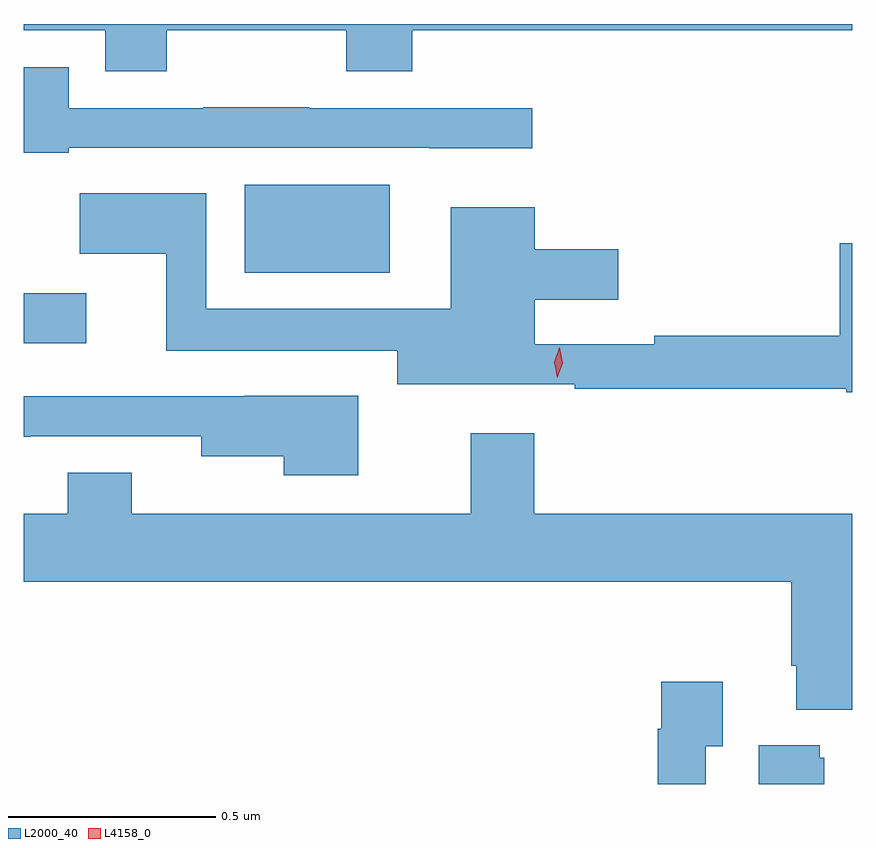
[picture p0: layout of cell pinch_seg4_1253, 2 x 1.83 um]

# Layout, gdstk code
import gdstk
lib = gdstk.Library(unit=1e-6, precision=1e-09)
def R(c, l, rs):  # rectangles x0, y0, x1, y1
    for r in rs: c.add(gdstk.rectangle(r[:2], r[2:], *l))
def P(c, l, *ps):  # polygons
    for p in ps: c.add(gdstk.Polygon(p, *l))
L2000_40 = (2000, 40)
L4158_0 = (4158, 0)

pinch_seg4_1253 = lib.new_cell('pinch_seg4_1253')
R(pinch_seg4_1253, L2000_40, [(351.396,832.028,351.547,832.149), (351.929,832.199,352.279,832.411)])
P(pinch_seg4_1253, L2000_40, [(351.741,832.784),(352.174,832.784),(352.174,832.685),(352.334,832.685),(352.334,832.784),(353.396,832.784),(353.396,832.799),(351.396,832.799),(351.396,832.784),(351.593,832.784),(351.593,832.685),(351.741,832.685)],
  [(351.505,832.5),(352.375,832.5),(352.375,832.499),(352.624,832.499),(352.624,832.596),(352.085,832.596),(352.085,832.598),(351.829,832.598),(351.829,832.596),(351.505,832.596),(351.505,832.695),(351.396,832.695),(351.396,832.488),(351.505,832.488)],
  [(353.396,832.27),(353.366,832.27),(353.366,832.046),(352.918,832.046),(352.918,832.026),(352.63,832.026),(352.63,832.133),(352.831,832.133),(352.831,832.255),(352.63,832.255),(352.63,832.357),(352.427,832.357),(352.427,832.111),(351.837,832.111),(351.837,832.39),(351.531,832.39),(351.531,832.244),(351.74,832.244),(351.74,832.01),(352.298,832.01),(352.298,831.929),(352.726,831.929),(352.726,831.918),(353.382,831.918),(353.382,831.91),(353.396,831.91)],
  [(352.204,831.901),(351.928,831.901),(351.928,831.9),(351.396,831.9),(351.396,831.803),(351.413,831.803),(351.413,831.804),(351.824,831.804),(351.824,831.755),(352.024,831.755),(352.024,831.71),(352.204,831.71)],
  [(353.396,831.616),(352.628,831.616),(352.628,831.811),(352.475,831.811),(352.475,831.616),(351.657,831.616),(351.657,831.715),(351.502,831.715),(351.502,831.616),(351.396,831.616),(351.396,831.452),(353.249,831.452),(353.249,831.25),(353.261,831.25),(353.261,831.143),(353.396,831.143)],
  [(353.043,831.055),(353.083,831.055),(353.083,831.211),(352.935,831.211),(352.935,831.098),(352.927,831.098),(352.927,830.964),(353.043,830.964)],
  [(353.329,831.027),(353.318,831.027),(353.318,831.058),(353.171,831.058),(353.171,830.964),(353.329,830.964)])
P(pinch_seg4_1253, L4158_0, [(352.684,831.945),(352.684,831.945),(352.677,831.982),(352.689,832.017),(352.689,832.017),(352.69,832.017),(352.697,831.98),(352.684,831.945)])

lib.write_gds('pinch_seg4_1253.gds')
